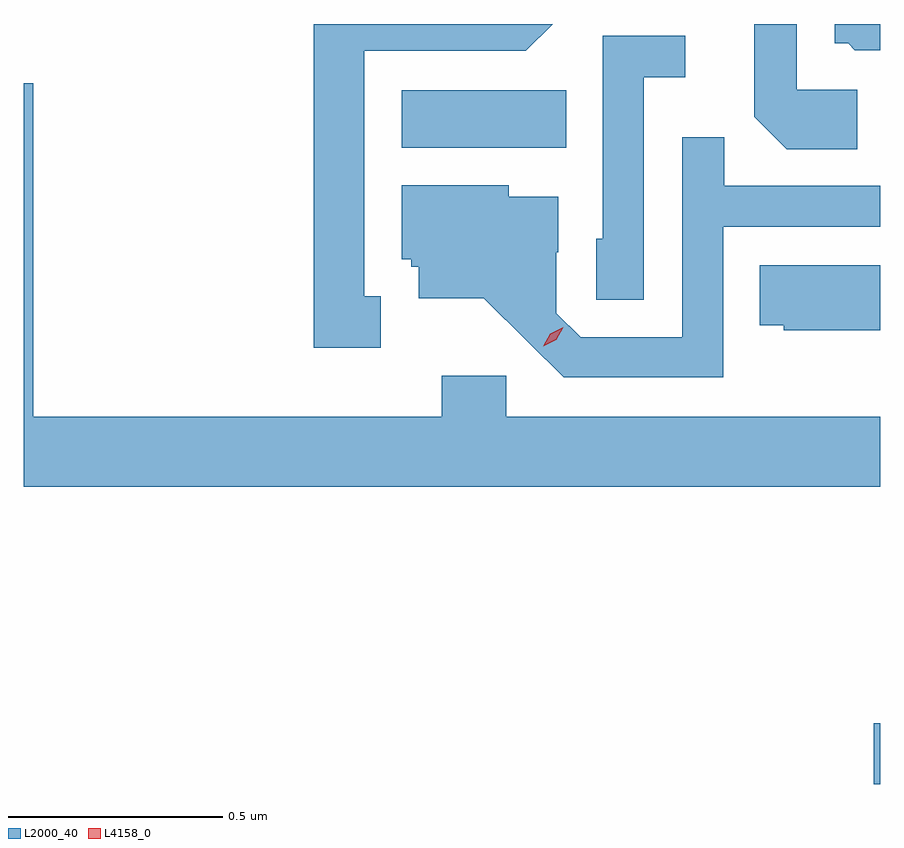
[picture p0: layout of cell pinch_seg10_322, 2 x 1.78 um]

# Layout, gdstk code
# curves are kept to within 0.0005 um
import gdstk
lib = gdstk.Library(unit=1e-6, precision=1e-09)
def R(c, l, rs):  # rectangles x0, y0, x1, y1
    for r in rs: c.add(gdstk.rectangle(r[:2], r[2:], *l))
def P(c, l, *ps):  # polygons
    for p in ps: c.add(gdstk.Polygon(p, *l))
L2000_40 = (2000, 40)
L4158_0 = (4158, 0)

pinch_seg10_322 = lib.new_cell('pinch_seg10_322')
R(pinch_seg10_322, L2000_40, [(411.534,1302.286,411.549,1302.428), (410.432,1303.772,410.816,1303.906)])
P(pinch_seg10_322, L2000_40, [(411.549,1304.061),(411.443,1304.061),(411.443,1304.016),(411.474,1304.016),(411.49,1304),(411.549,1304)],
  [(410.383,1303.425),(410.344,1303.425),(410.344,1303.998),(410.721,1303.998),(410.784,1304.061),(410.226,1304.061),(410.226,1303.305),(410.383,1303.305)],
  [(411.496,1303.908),(411.354,1303.908),(411.354,1304.061),(411.255,1304.061),(411.255,1303.844),(411.331,1303.768),(411.496,1303.768)],
  [(410.997,1303.937),(411.094,1303.937),(411.094,1304.034),(410.901,1304.034),(410.901,1303.56),(410.886,1303.56),(410.886,1303.417),(410.997,1303.417)],
  [(411.549,1303.144),(410.676,1303.144),(410.676,1303.24),(410.525,1303.24),(410.525,1303.144),(409.571,1303.144),(409.571,1303.923),(409.549,1303.923),(409.549,1302.98),(411.549,1302.98)],
  [(411.183,1303.587),(411.549,1303.587),(411.549,1303.683),(411.185,1303.683),(411.185,1303.796),(411.087,1303.796),(411.087,1303.329),(410.85,1303.329),(410.793,1303.386),(410.793,1303.528),(410.797,1303.528),(410.797,1303.657),(410.682,1303.657),(410.682,1303.684),(410.432,1303.684),(410.432,1303.512),(410.454,1303.512),(410.454,1303.494),(410.471,1303.494),(410.471,1303.421),(410.623,1303.421),(410.81,1303.236),(411.183,1303.236)],
  [(411.549,1303.498),(411.268,1303.498),(411.268,1303.358),(411.324,1303.358),(411.324,1303.346),(411.549,1303.346)])
P(pinch_seg10_322, L4158_0, [(410.762,1303.308),(410.762,1303.308),(410.779,1303.338),(410.809,1303.353),(410.809,1303.353),(410.809,1303.353),(410.792,1303.323),(410.762,1303.308)])

lib.write_gds('pinch_seg10_322.gds')
